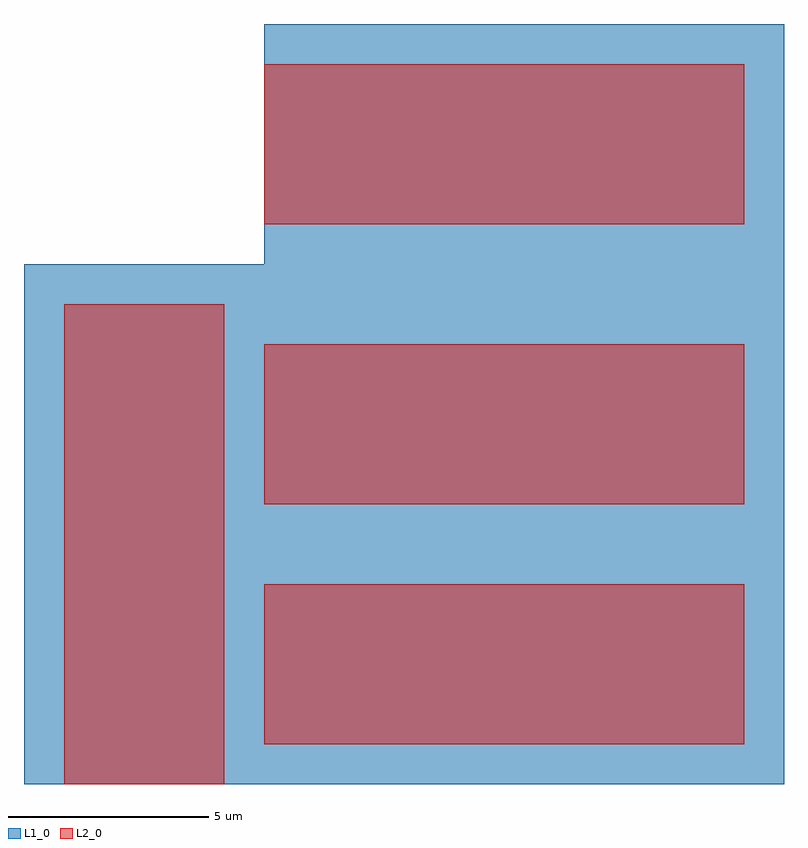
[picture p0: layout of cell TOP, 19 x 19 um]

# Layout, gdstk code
from math import pi, radians
import gdstk
lib = gdstk.Library(unit=1e-6, precision=1e-09)
def R(c, l, rs):  # rectangles x0, y0, x1, y1
    for r in rs: c.add(gdstk.rectangle(r[:2], r[2:], *l))
L1_0 = (1, 0)
L2_0 = (2, 0)

c_a = lib.new_cell('A')
R(c_a, L1_0, [(0,0,4,6)])
R(c_a, L2_0, [(0,1,3,5)])

c_b = lib.new_cell('B')
c_b.add(gdstk.Reference(c_a, (0,0)))
c_b.add(gdstk.Reference(c_a, (3,0)))

c_c = lib.new_cell('C')
c_c.add(gdstk.Reference(c_b, (0,0)))
c_c.add(gdstk.Reference(c_b, (6,0)))

c_d = lib.new_cell('D')
R(c_d, L1_0, [(0,12,13,13)])
c_d.add(gdstk.Reference(c_c, (0,0)))
c_d.add(gdstk.Reference(c_c, (0,6)))
c_d.add(gdstk.Reference(c_c, (0,0), rotation=pi/2))

top = lib.new_cell('TOP')
top.add(gdstk.Reference(c_d, (0,0)))
top.add(gdstk.Reference(c_c, (0,13)))

lib.write_gds('TOP.gds')
